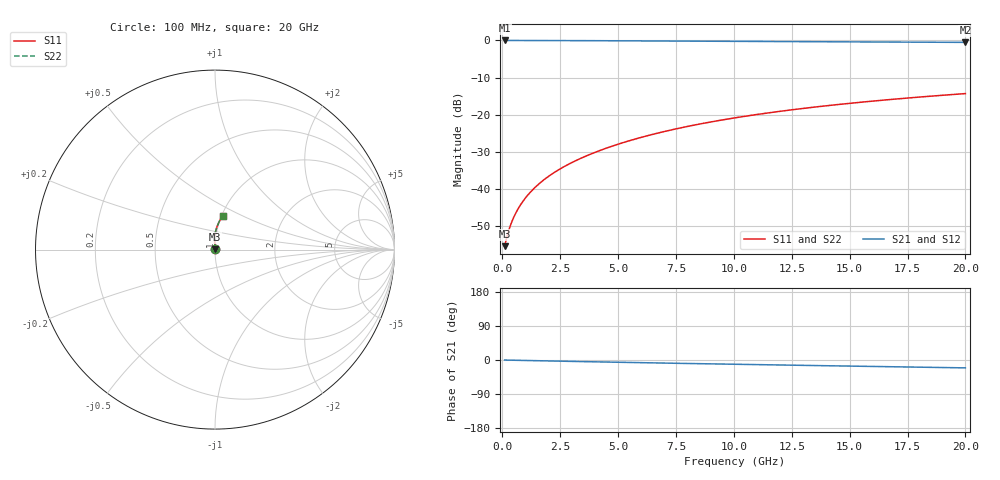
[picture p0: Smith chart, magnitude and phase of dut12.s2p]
! Touchstone file exported from HFSS 2024.1.0
!  File:  C:/UserFiles/LocalFiles/RDL_TSV_Batchsim/temp_RDL_bottom_12_1778691330.aedt
!  Generated:  12:57:39 AM May 14, 2026
!  Design:  RDL_bottom
!  Project:  temp_RDL_bottom_12_1778691330
!  Setup:  Setup1
!  Solution:  Sweep
! Variables:
!  dtsv = 10.80580581um
!  hbump = 3um
!  htsv = 58.84um
!  ldown = 289.03um
!  lrdl = 100um
!  p = 40
!  p1 = 48.35um
!  rhole = 1um
!  t = 450um
!  tdown = 3.14um
!  trdl = 3.915915916um
!  wdown = 26.82um
!  wrdl = 20um
# GHz S MA R 50.000000
! Terminal data exported
! Port[1] = RDL1_T1
! Port[2] = RDL1_T2
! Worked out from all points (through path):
!   200 points, 100 MHz to 20 GHz, reference 50 ohm
!   highest |S21| = -0.01 dB at 100 MHz (marker M1); lowest = -0.5 dB at 20 GHz (marker M2)
!   group delay of S21, straight-line fit = 2.84 ps
!   lowest |S11| = -55.3 dB at 100 MHz (marker M3), VSWR 1.00, Z = 50.1 + j0.0861 ohm
!   |S11| at or under -10 dB: start of sweep to end of sweep
!   |S22| runs from -55.3 to -14.3 dB; largest |S21 - S12| = 2.1e-15
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0.1  0.00172 30.0  0.9985 -0.1  0.9985 -0.1  0.00172 30.0
! Gamma 0 0 0 0
! Port Impedance 50 0 50 0
0.2  0.002292 46.8  0.9984 -0.3  0.9984 -0.3  0.002292 46.8
0.3  0.002938 55.9  0.9983 -0.4  0.9983 -0.4  0.002938 55.9
0.4  0.003593 61.6  0.9982 -0.5  0.9982 -0.5  0.003593 61.6
0.5  0.004251 65.8  0.9981 -0.6  0.9981 -0.6  0.004251 65.8
0.6  0.004913 69.0  0.998 -0.8  0.998 -0.8  0.004913 69.0
0.8  0.00626 73.8  0.9978 -1.0  0.9978 -1.0  0.00626 73.8
1  0.007639 77.2  0.9976 -1.3  0.9976 -1.3  0.007639 77.2
1.2  0.009048 79.7  0.9973 -1.5  0.9973 -1.5  0.009048 79.7
1.7  0.01268 84.0  0.9966 -2.1  0.9966 -2.1  0.01268 84.0
2.2  0.01646 86.7  0.9957 -2.7  0.9957 -2.7  0.01646 86.7
2.8  0.02119 88.8  0.9944 -3.4  0.9944 -3.4  0.02119 88.8
3.5  0.02697 90.4  0.9926 -4.3  0.9926 -4.3  0.02697 90.4
4.2  0.03305 91.4  0.9905 -5.1  0.9905 -5.1  0.03305 91.4
5  0.04031 92.0  0.988 -6.0  0.988 -6.0  0.04031 92.0
6.8  0.0577 91.9  0.9819 -8.0  0.9819 -8.0  0.0577 91.9
8.4  0.07397 90.8  0.9764 -9.6  0.9764 -9.6  0.07397 90.8
10.1  0.09167 89.1  0.9708 -11.3  0.9708 -11.3  0.09167 89.1
11.7  0.1085 87.2  0.9657 -12.9  0.9657 -12.9  0.1084 87.2
13.4  0.1262 85.2  0.9605 -14.6  0.9605 -14.6  0.1262 85.2
16.7  0.1601 81.2  0.9507 -17.7  0.9507 -17.7  0.1601 81.2
20  0.1929 77.3  0.9411 -20.8  0.9411 -20.8  0.1929 77.3
